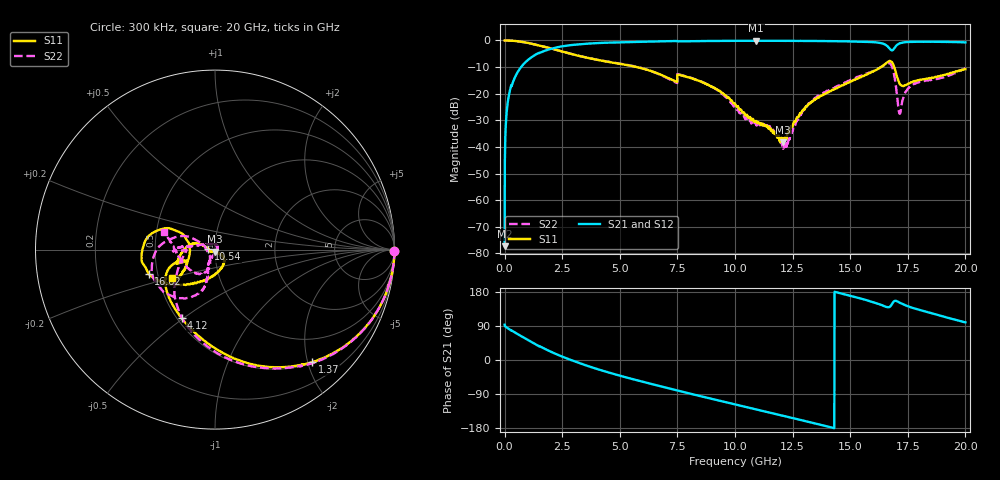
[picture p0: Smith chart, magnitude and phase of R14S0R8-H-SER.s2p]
!{R14S0R8}
!Johanson Technology Inc.
!www.johansontechnology.com
!Test Board Conditions:
!Substrate Type  RO4350B
!Substrate Thickness  20 mil
!Substrate Dk  3.66
!TL Type: GCPW
!TL Trace Width  36 mil
!TL Gap  12 mil
!Electrode orientation  Horizontal
!DUT TOPOLOGY	SERIES
!Mounting Pad LxW  26x36 mil
! Created Wed Nov 25 17:33:21 2020
! 2 Port Network Data from SP1.SP block
! freq  magS11  angS11  magS21  angS21  magS12  angS12  magS22  angS22
# khz S ma R 50
! decimated to every 10th point (10 MHz spacing) of the original 1 MHz Johanson file; values unchanged
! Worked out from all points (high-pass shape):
!   2001 points, 300 kHz to 20 GHz, reference 50 ohm
!   highest |S21| = -0.11 dB at 10.92 GHz (marker M1); lowest = -77.3 dB at 300 kHz (marker M2)
!   |S21| within 3 dB of the highest: 2.025 GHz to 16.72 GHz (14.69 GHz wide, 157 % of centre); 16.9 GHz to end of sweep
!   lowest |S11| = -38.3 dB at 12.09 GHz (marker M3), VSWR 1.02, Z = 49.9 - j1.2 ohm
!   |S11| at or under -10 dB: 5.728 GHz to 16.34 GHz (10.61 GHz wide, 96.2 % of centre); 16.91 GHz to end of sweep
!   |S22| runs from -40.7 to 0.0 dB; largest |S21 - S12| = 0.013
!   S11 on the Smith chart (normalised r, x): 300 kHz: open; 1.37 GHz: 0.52, -2.08; 4.12 GHz: 0.53, -0.49; 10.54 GHz: 0.93, +0.00; 16.62 GHz: 0.45, -0.14; 20 GHz: 0.58, -0.20
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300  0.9999 -0.3  0.0001367 93.0  0.0001386 90.2  0.9999 -0.3
110300  0.9981 -4.6  0.05553 85.2  0.05578 85.2  0.9981 -4.6
230300  0.992 -9.5  0.1153 79.9  0.1158 80.0  0.9924 -9.6
660300  0.9547 -24.6  0.2937 65.0  0.2934 65.0  0.9535 -24.8
1370300  0.8291 -49.1  0.5495 40.4  0.5502 40.3  0.8311 -49.8
3340300  0.4999 -98.8  0.8549 -10.2  0.8555 -10.2  0.5001 -101.5
4120300  0.4238 -116.1  0.8964 -25.7  0.8963 -25.7  0.4263 -115.1
6670300  0.238 -161.2  0.9604 -67.8  0.961 -67.7  0.2345 -152.0
8580300  0.1638 176.7  0.9741 -96.5  0.9738 -96.4  0.166 174.7
1.00003e7  0.06469 161.6  0.9843 -117.2  0.9831 -117.2  0.05624 147.6
1.05403e7  0.03834 177.1  0.9834 -124.9  0.9845 -125.0  0.03335 112.0
1.09203e7  0.03077 -168.7  0.987 -130.5  0.9825 -130.6  0.02652 82.5
1.15803e7  0.02042 -149.4  0.9845 -139.9  0.9844 -139.9  0.02157 50.8
1.20903e7  0.01214 -96.0  0.9823 -147.2  0.9848 -147.3  0.009246 -4.5
1.33403e7  0.07137 -46.2  0.9777 -165.4  0.9782 -165.4  0.07409 -114.1
1.55703e7  0.2159 -120.7  0.9441 160.3  0.9473 160.1  0.2269 -106.0
1.66203e7  0.3923 -160.0  0.7779 139.4  0.77 139.4  0.3723 -142.8
1.66703e7  0.4003 -166.0  0.7392 139.2  0.7296 139.6  0.3771 -150.3
1.68603e7  0.3622 165.3  0.6655 152.3  0.6611 152.8  0.2815 171.2
1.71603e7  0.1491 166.0  0.8891 150.9  0.8878 151.3  0.04213 -141.6
1.77103e7  0.1666 -157.1  0.9405 137.5  0.943 137.5  0.1471 -116.0
2e7  0.2895 -146.8  0.9188 99.3  0.9103 99.2  0.3013 160.6
